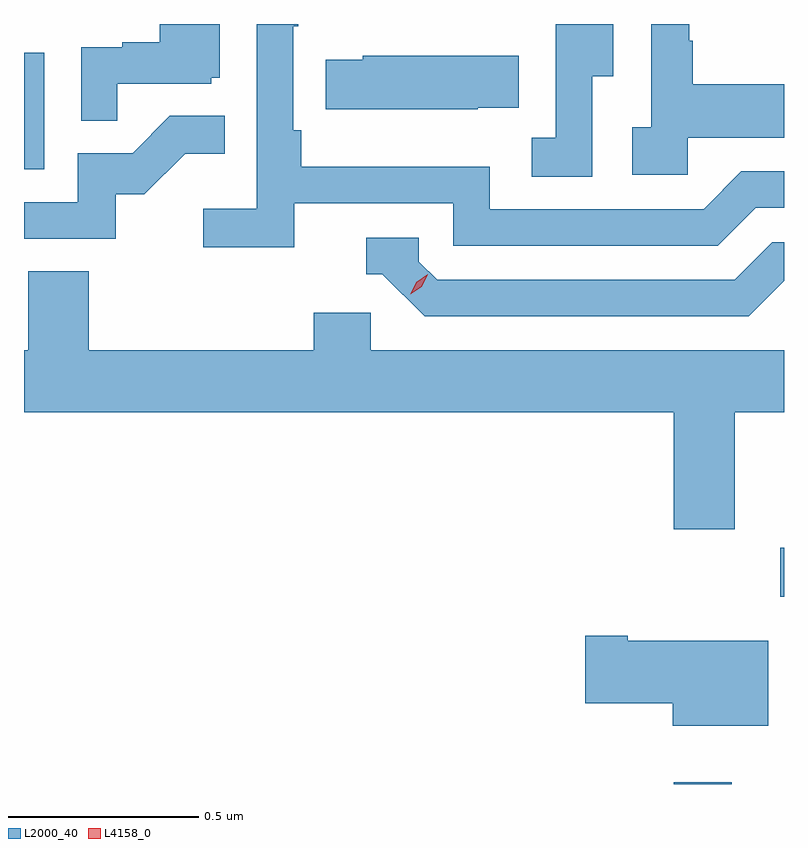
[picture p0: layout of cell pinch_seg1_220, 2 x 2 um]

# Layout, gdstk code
import gdstk
lib = gdstk.Library(unit=1e-6, precision=1e-09)
def R(c, l, rs):  # rectangles x0, y0, x1, y1
    for r in rs: c.add(gdstk.rectangle(r[:2], r[2:], *l))
def P(c, l, *ps):  # polygons
    for p in ps: c.add(gdstk.Polygon(p, *l))
L2000_40 = (2000, 40)
L4158_0 = (4158, 0)

pinch_seg1_220 = lib.new_cell('pinch_seg1_220')
R(pinch_seg1_220, L2000_40, [(976.109,574.73,976.261,574.735), (976.389,575.223,976.399,575.352), (974.399,576.348,974.452,576.655)])
P(pinch_seg1_220, L2000_40, [(975.11,576.258),(975.528,576.258),(975.528,576.147),(976.225,576.147),(976.324,576.246),(976.399,576.246),(976.399,576.342),(976.287,576.342),(976.188,576.243),(975.624,576.243),(975.624,576.355),(975.128,576.355),(975.128,576.451),(975.108,576.451),(975.108,576.724),(975.121,576.724),(975.121,576.73),(975.012,576.73),(975.012,576.244),(974.871,576.244),(974.871,576.142),(975.11,576.142)],
  [(975.894,576.592),(975.949,576.592),(975.949,576.73),(975.798,576.73),(975.798,576.431),(975.735,576.431),(975.735,576.328),(975.894,576.328)],
  [(976.146,576.431),(976.399,576.431),(976.399,576.571),(976.159,576.571),(976.159,576.686),(976.149,576.686),(976.149,576.73),(976.05,576.73),(976.05,576.458),(975.999,576.458),(975.999,576.333),(976.146,576.333)],
  [(974.645,576.573),(974.892,576.573),(974.892,576.588),(974.914,576.588),(974.914,576.73),(974.756,576.73),(974.756,576.682),(974.657,576.682),(974.657,576.669),(974.55,576.669),(974.55,576.475),(974.645,576.475)],
  [(975.593,576.509),(975.701,576.509),(975.701,576.646),(975.291,576.646),(975.291,576.636),(975.193,576.636),(975.193,576.506),(975.593,576.506)],
  [(974.64,576.282),(974.716,576.282),(974.823,576.389),(974.927,576.389),(974.927,576.488),(974.783,576.488),(974.685,576.39),(974.541,576.39),(974.541,576.261),(974.399,576.261),(974.399,576.165),(974.64,576.165)],
  [(976.399,576.054),(976.399,576.156),(976.368,576.156),(976.269,576.057),(975.486,576.057),(975.438,576.105),(975.438,576.168),(975.299,576.168),(975.299,576.072),(975.342,576.072),(975.453,575.961),(976.306,575.961)],
  [(975.161,575.97),(975.161,575.872),(974.57,575.872),(974.57,576.08),(974.41,576.08),(974.41,575.872),(974.399,575.872),(974.399,575.708),(976.109,575.708),(976.109,575.4),(976.269,575.4),(976.269,575.708),(976.399,575.708),(976.399,575.872),(975.312,575.872),(975.312,575.97)],
  [(976.357,575.107),(975.988,575.107),(975.988,575.12),(975.876,575.12),(975.876,574.942),(976.106,574.942),(976.106,574.883),(976.357,574.883)])
P(pinch_seg1_220, L4158_0, [(975.415,576.019),(975.415,576.019),(975.431,576.051),(975.462,576.071),(975.462,576.071),(975.462,576.07),(975.446,576.038),(975.415,576.019)])

lib.write_gds('pinch_seg1_220.gds')
